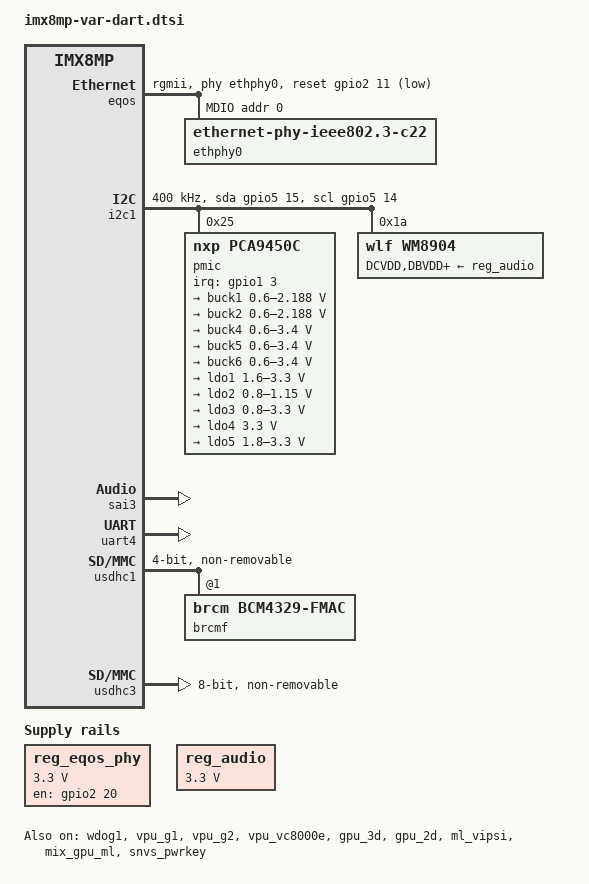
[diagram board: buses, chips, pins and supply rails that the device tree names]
// SPDX-License-Identifier: (GPL-2.0+ OR MIT)
/*
 * Copyright 2019 NXP
 * Copyright 2020-2021 Variscite Ltd.
 */

/dts-v1/;

#include <dt-bindings/usb/pd.h>
#include "imx8mp.dtsi"

/ {
	compatible = "variscite,imx8mp-var-dart", "fsl,imx8mp";

	aliases {
		ethernet0 = &eqos;
		ethernet1 = &fec;
	};

	/delete-node/ memory@40000000;

	reserved-memory {
		/* CMA region is configured by kernel command line as cma=<size>M */
		/delete-node/ linux,cma;
	};

	reg_eqos_phy: regulator-eqos-phy {
		compatible = "regulator-fixed";
		regulator-name = "eqos-phy";
		regulator-min-microvolt = <3300000>;
		regulator-max-microvolt = <3300000>;
		gpio = <&gpio2 20 GPIO_ACTIVE_HIGH>;
		enable-active-high;
		regulator-always-on;
	};

	reg_audio: regulator-audio-vdd {
		compatible = "regulator-fixed";
		regulator-name = "wm8904_supply";
		regulator-min-microvolt = <3300000>;
		regulator-max-microvolt = <3300000>;
		regulator-always-on;
	};

	sound-wm8904 {
		compatible = "simple-audio-card";
		simple-audio-card,bitclock-master = <&dailink_master>;
		simple-audio-card,format = "i2s";
		simple-audio-card,frame-master = <&dailink_master>;
		simple-audio-card,name = "wm8904-audio";
		simple-audio-card,routing =
			"Headphone Jack", "HPOUTL",
			"Headphone Jack", "HPOUTR",
			"IN2L", "Line In Jack",
			"IN2R", "Line In Jack",
			"IN1L", "Microphone Jack",
			"IN1R", "Microphone Jack";
		simple-audio-card,widgets =
			"Microphone", "Microphone Jack",
			"Headphone", "Headphone Jack",
			"Line", "Line In Jack";
		simple-audio-card,mclk-fs = <256>;

		dailink_master: simple-audio-card,codec {
			sound-dai = <&wm8904>;
		};

		simple-audio-card,cpu {
			sound-dai = <&sai3>;
		};
	};
};

&A53_0 {
	cpu-supply = <&buck2>;
};

&A53_1 {
	cpu-supply = <&buck2>;
};

&A53_2 {
	cpu-supply = <&buck2>;
};

&A53_3 {
	cpu-supply = <&buck2>;
};

&eqos {
	pinctrl-names = "default";
	pinctrl-0 = <&pinctrl_eqos>;
	phy-mode = "rgmii";
	phy-handle = <&ethphy0>;
	snps,reset-gpio = <&gpio2 11 GPIO_ACTIVE_LOW>;
	snps,reset-delays-us = <100000 10000 100000>;
	mdio_rst_after_resume;
	status = "okay";

	mdio {
		compatible = "snps,dwmac-mdio";
		#address-cells = <1>;
		#size-cells = <0>;

		ethphy0: ethernet-phy@0 {
			compatible = "ethernet-phy-ieee802.3-c22";
			reg = <0>;
			at803x,eee-disabled;
			at803x,vddio-1p8v;
			eee-broken-1000t;
		};
	};
};

&i2c1 {
	clock-frequency = <400000>;
	pinctrl-names = "default", "gpio";
	pinctrl-0 = <&pinctrl_i2c1>;
	pinctrl-1 = <&pinctrl_i2c1_gpio>;
	scl-gpios = <&gpio5 14 GPIO_ACTIVE_HIGH>;
	sda-gpios = <&gpio5 15 GPIO_ACTIVE_HIGH>;
	status = "okay";

	pmic: pca9450@25 {
		reg = <0x25>;
		compatible = "nxp,pca9450c";
		pinctrl-names = "default";
		pinctrl-0 = <&pinctrl_pmic>;
		interrupt-parent = <&gpio1>;
		interrupts = <3 GPIO_ACTIVE_LOW>;
		status = "okay";

		regulators {
			#address-cells = <1>;
			#size-cells = <0>;

			buck1: BUCK1 {
				regulator-name = "BUCK1";
				regulator-min-microvolt = <600000>;
				regulator-max-microvolt = <2187500>;
				regulator-boot-on;
				regulator-always-on;
				regulator-ramp-delay = <3125>;
			};

			buck2: BUCK2 {
				regulator-name = "BUCK2";
				regulator-min-microvolt = <600000>;
				regulator-max-microvolt = <2187500>;
				regulator-boot-on;
				regulator-always-on;
				regulator-ramp-delay = <3125>;
				nxp,dvs-run-voltage = <950000>;
				nxp,dvs-standby-voltage = <850000>;
			};

			buck4: BUCK4 {
				regulator-name = "BUCK4";
				regulator-min-microvolt = <600000>;
				regulator-max-microvolt = <3400000>;
				regulator-boot-on;
				regulator-always-on;
			};

			buck5: BUCK5 {
				regulator-name = "BUCK5";
				regulator-min-microvolt = <600000>;
				regulator-max-microvolt = <3400000>;
				regulator-boot-on;
				regulator-always-on;
			};

			buck6: BUCK6 {
				regulator-name = "BUCK6";
				regulator-min-microvolt = <600000>;
				regulator-max-microvolt = <3400000>;
				regulator-boot-on;
				regulator-always-on;
			};

			ldo1: LDO1 {
				regulator-name = "LDO1";
				regulator-min-microvolt = <1600000>;
				regulator-max-microvolt = <3300000>;
				regulator-boot-on;
				regulator-always-on;
			};

			ldo2: LDO2 {
				regulator-name = "LDO2";
				regulator-min-microvolt = <800000>;
				regulator-max-microvolt = <1150000>;
				regulator-boot-on;
				regulator-always-on;
			};

			ldo3: LDO3 {
				regulator-name = "LDO3";
				regulator-min-microvolt = <800000>;
				regulator-max-microvolt = <3300000>;
				regulator-boot-on;
				regulator-always-on;
			};

			ldo4: LDO4 {
				regulator-name = "LDO4";
				regulator-min-microvolt = <3300000>;
				regulator-max-microvolt = <3300000>;
				regulator-always-on;
			};

			ldo5: LDO5 {
				regulator-name = "LDO5";
				regulator-min-microvolt = <1800000>;
				regulator-max-microvolt = <3300000>;
			};
		};
	};

	wm8904: codec@1a {
		compatible = "wlf,wm8904";
		#sound-dai-cells = <0>;
		reg = <0x1a>;
		clocks = <&audio_blk_ctrl IMX8MP_CLK_AUDIO_BLK_CTRL_SAI3_MCLK1>;
		clock-names = "mclk";
		DCVDD-supply = <&reg_audio>;
		DBVDD-supply = <&reg_audio>;
		AVDD-supply = <&reg_audio>;
		CPVDD-supply = <&reg_audio>;
		MICVDD-supply = <&reg_audio>;
		num-drc-cfgs = <5>;
		drc-cfg-names = "default", "peaklimiter", "tradition", "soft", "music";
		drc-cfg-regs =
				/* coded default: KNEE_IP = KNEE_OP = 0, HI_COMP = LO_COMP = 1  */
				<0x01af 0x3248 0x0000 0x0000>,
				/* coded default: KNEE_IP = -24, KNEE_OP = -6, HI_COMP = 1/4, LO_COMP = 1 */
				<0x04af 0x324b 0x0010 0x0408>,
				/* coded default: KNEE_IP = -42, KNEE_OP = -3, HI_COMP = 0, LO_COMP = 1 */
				<0x04af 0x324b 0x0028 0x0704>,
				/* coded default: KNEE_IP = -45, KNEE_OP = -9, HI_COMP = 1/8, LO_COMP = 1 */
				<0x04af 0x324b 0x0018 0x078c>,
				/* coded default: KNEE_IP = -30, KNEE_OP = -10.5, HI_COMP = 1/4, LO_COMP = 1 */
				<0x04af 0x324b 0x0010 0x050e>;
		gpio-cfg = <
			0x0018 /* GPIO1 => DMIC_CLK */
			0xffff /* GPIO2 => don't touch */
			0xffff /* GPIO3 => don't touch */
			0xffff /* GPIO4 => don't touch */
		>;
		status = "okay";
	};
};

&sai3 {
	#sound-dai-cells = <0>;
	pinctrl-names = "default";
	pinctrl-0 = <&pinctrl_sai3>;
	assigned-clocks = <&clk IMX8MP_CLK_SAI3>;
	assigned-clock-parents = <&clk IMX8MP_AUDIO_PLL1_OUT>;
	assigned-clock-rates = <11536000>;
	clocks = <&audio_blk_ctrl IMX8MP_CLK_AUDIO_BLK_CTRL_SAI3_IPG>, <&clk IMX8MP_CLK_DUMMY>,
		 <&audio_blk_ctrl IMX8MP_CLK_AUDIO_BLK_CTRL_SAI3_MCLK1>, <&clk IMX8MP_CLK_DUMMY>,
		 <&clk IMX8MP_CLK_DUMMY>;
	clock-names = "bus", "mclk0", "mclk1", "mclk2", "mclk3";
	fsl,sai-mclk-direction-output;
	status = "okay";
};

&sdma2 {
	status = "okay";
};

/* BT */
&uart4 {
	pinctrl-names = "default";
	pinctrl-0 = <&pinctrl_uart4>, <&pinctrl_bt>;
	assigned-clocks = <&clk IMX8MP_CLK_UART4>;
	assigned-clock-parents = <&clk IMX8MP_SYS_PLL1_80M>;
	uart-has-rtscts;
	status = "okay";
};

/* WIFI */
&usdhc1 {
	#address-cells = <1>;
	#size-cells = <0>;
	pinctrl-names = "default", "state_100mhz", "state_200mhz";
	pinctrl-0 = <&pinctrl_usdhc1>, <&pinctrl_wifi>;
	pinctrl-1 = <&pinctrl_usdhc1_100mhz>, <&pinctrl_wifi>;
	pinctrl-2 = <&pinctrl_usdhc1_200mhz>, <&pinctrl_wifi>;
	bus-width = <4>;
	non-removable;
	keep-power-in-suspend;
	status = "okay";

	brcmf: bcrmf@1 {
		reg = <1>;
		compatible = "brcm,bcm4329-fmac";
		laird,regdomain = "US";
	};
};

/* eMMC */
&usdhc3 {
	pinctrl-names = "default", "state_100mhz", "state_200mhz";
	pinctrl-0 = <&pinctrl_usdhc3>;
	pinctrl-1 = <&pinctrl_usdhc3_100mhz>;
	pinctrl-2 = <&pinctrl_usdhc3_200mhz>;
	bus-width = <8>;
	non-removable;
	status = "okay";
};

&wdog1 {
	pinctrl-names = "default";
	pinctrl-0 = <&pinctrl_wdog>;
	fsl,ext-reset-output;
	status = "okay";
};

&vpu_g1 {
	status = "okay";
};

&vpu_g2 {
	status = "okay";
};

&vpu_vc8000e {
	status = "okay";
};

&gpu_3d {
	status = "okay";
};

&gpu_2d {
	status = "okay";
};

&ml_vipsi {
	status = "okay";
};

&mix_gpu_ml {
	status = "okay";
};

&snvs_rtc {
	status = "disabled";
};

&caam_snvs {
	status = "disabled";
};

&snvs_pwrkey {
	status = "okay";
};

&iomuxc {
	pinctrl_eqos: eqosgrp {
		fsl,pins = <
			MX8MP_IOMUXC_ENET_MDC__ENET_QOS_MDC				0x2
			MX8MP_IOMUXC_ENET_MDIO__ENET_QOS_MDIO				0x2
			MX8MP_IOMUXC_ENET_RD0__ENET_QOS_RGMII_RD0			0x90
			MX8MP_IOMUXC_ENET_RD1__ENET_QOS_RGMII_RD1			0x90
			MX8MP_IOMUXC_ENET_RD2__ENET_QOS_RGMII_RD2			0x90
			MX8MP_IOMUXC_ENET_RD3__ENET_QOS_RGMII_RD3			0x90
			MX8MP_IOMUXC_ENET_RXC__CCM_ENET_QOS_CLOCK_GENERATE_RX_CLK	0x90
			MX8MP_IOMUXC_ENET_RX_CTL__ENET_QOS_RGMII_RX_CTL			0x90
			MX8MP_IOMUXC_ENET_TD0__ENET_QOS_RGMII_TD0			0x16
			MX8MP_IOMUXC_ENET_TD1__ENET_QOS_RGMII_TD1			0x16
			MX8MP_IOMUXC_ENET_TD2__ENET_QOS_RGMII_TD2			0x16
			MX8MP_IOMUXC_ENET_TD3__ENET_QOS_RGMII_TD3			0x16
			MX8MP_IOMUXC_ENET_TX_CTL__ENET_QOS_RGMII_TX_CTL			0x16
			MX8MP_IOMUXC_ENET_TXC__CCM_ENET_QOS_CLOCK_GENERATE_TX_CLK	0x16
			MX8MP_IOMUXC_SD2_WP__GPIO2_IO20					0x10
			MX8MP_IOMUXC_SD1_STROBE__GPIO2_IO11				0x10
		>;
	};

	pinctrl_i2c1: i2c1grp {
		fsl,pins = <
			MX8MP_IOMUXC_I2C1_SCL__I2C1_SCL					0x400001c2
			MX8MP_IOMUXC_I2C1_SDA__I2C1_SDA					0x400001c2
		>;
	};

	pinctrl_i2c1_gpio: i2c1gpiogrp {
		fsl,pins = <
			MX8MP_IOMUXC_I2C1_SCL__GPIO5_IO14				0x1c2
			MX8MP_IOMUXC_I2C1_SDA__GPIO5_IO15				0x1c2
		>;
	};

	pinctrl_pmic: pmicgrp {
		fsl,pins = <
			MX8MP_IOMUXC_GPIO1_IO03__GPIO1_IO03				0x1c0
		>;
	};

	pinctrl_sai3: sai3grp {
		fsl,pins = <
			MX8MP_IOMUXC_SAI3_TXFS__AUDIOMIX_SAI3_TX_SYNC			0xd6
			MX8MP_IOMUXC_SAI3_TXC__AUDIOMIX_SAI3_TX_BCLK			0xd6
			MX8MP_IOMUXC_SAI3_RXD__AUDIOMIX_SAI3_RX_DATA00			0xd6
			MX8MP_IOMUXC_SAI3_TXD__AUDIOMIX_SAI3_TX_DATA00			0xd6
			MX8MP_IOMUXC_SAI3_MCLK__AUDIOMIX_SAI3_MCLK			0xd6
			MX8MP_IOMUXC_SAI3_RXFS__AUDIOMIX_SAI3_RX_SYNC			0xd6
			MX8MP_IOMUXC_SAI3_RXC__AUDIOMIX_SAI3_RX_BCLK			0xd6
		>;
	};

	pinctrl_usdhc1: usdhc1grp {
		fsl,pins = <
			MX8MP_IOMUXC_SD1_CLK__USDHC1_CLK				0x190
			MX8MP_IOMUXC_SD1_CMD__USDHC1_CMD				0x1d0
			MX8MP_IOMUXC_SD1_DATA0__USDHC1_DATA0				0x1d0
			MX8MP_IOMUXC_SD1_DATA1__USDHC1_DATA1				0x1d0
			MX8MP_IOMUXC_SD1_DATA2__USDHC1_DATA2				0x1d0
			MX8MP_IOMUXC_SD1_DATA3__USDHC1_DATA3				0x1d0
		>;
	};

	pinctrl_usdhc1_100mhz: usdhc1grp-100mhz {
		fsl,pins = <
			MX8MP_IOMUXC_SD1_CLK__USDHC1_CLK				0x194
			MX8MP_IOMUXC_SD1_CMD__USDHC1_CMD				0x1d4
			MX8MP_IOMUXC_SD1_DATA0__USDHC1_DATA0				0x1d4
			MX8MP_IOMUXC_SD1_DATA1__USDHC1_DATA1				0x1d4
			MX8MP_IOMUXC_SD1_DATA2__USDHC1_DATA2				0x1d4
			MX8MP_IOMUXC_SD1_DATA3__USDHC1_DATA3				0x1d4
		>;
	};

	pinctrl_usdhc1_200mhz: usdhc1grp-200mhz {
		fsl,pins = <
			MX8MP_IOMUXC_SD1_CLK__USDHC1_CLK				0x196
			MX8MP_IOMUXC_SD1_CMD__USDHC1_CMD				0x1d6
			MX8MP_IOMUXC_SD1_DATA0__USDHC1_DATA0				0x1d6
			MX8MP_IOMUXC_SD1_DATA1__USDHC1_DATA1				0x1d6
			MX8MP_IOMUXC_SD1_DATA2__USDHC1_DATA2				0x1d6
			MX8MP_IOMUXC_SD1_DATA3__USDHC1_DATA3				0x1d6
		>;
	};

	pinctrl_usdhc3: usdhc3grp {
		fsl,pins = <
			MX8MP_IOMUXC_NAND_WE_B__USDHC3_CLK				0x190
			MX8MP_IOMUXC_NAND_WP_B__USDHC3_CMD				0x1d0
			MX8MP_IOMUXC_NAND_DATA04__USDHC3_DATA0				0x1d0
			MX8MP_IOMUXC_NAND_DATA05__USDHC3_DATA1				0x1d0
			MX8MP_IOMUXC_NAND_DATA06__USDHC3_DATA2				0x1d0
			MX8MP_IOMUXC_NAND_DATA07__USDHC3_DATA3				0x1d0
			MX8MP_IOMUXC_NAND_RE_B__USDHC3_DATA4				0x1d0
			MX8MP_IOMUXC_NAND_CE2_B__USDHC3_DATA5				0x1d0
			MX8MP_IOMUXC_NAND_CE3_B__USDHC3_DATA6				0x1d0
			MX8MP_IOMUXC_NAND_CLE__USDHC3_DATA7				0x1d0
			MX8MP_IOMUXC_NAND_CE1_B__USDHC3_STROBE				0x190
		>;
	};

	pinctrl_usdhc3_100mhz: usdhc3grp-100mhz {
		fsl,pins = <
			MX8MP_IOMUXC_NAND_WE_B__USDHC3_CLK				0x194
			MX8MP_IOMUXC_NAND_WP_B__USDHC3_CMD				0x1d4
			MX8MP_IOMUXC_NAND_DATA04__USDHC3_DATA0				0x1d4
			MX8MP_IOMUXC_NAND_DATA05__USDHC3_DATA1				0x1d4
			MX8MP_IOMUXC_NAND_DATA06__USDHC3_DATA2				0x1d4
			MX8MP_IOMUXC_NAND_DATA07__USDHC3_DATA3				0x1d4
			MX8MP_IOMUXC_NAND_RE_B__USDHC3_DATA4				0x1d4
			MX8MP_IOMUXC_NAND_CE2_B__USDHC3_DATA5				0x1d4
			MX8MP_IOMUXC_NAND_CE3_B__USDHC3_DATA6				0x1d4
			MX8MP_IOMUXC_NAND_CLE__USDHC3_DATA7				0x1d4
			MX8MP_IOMUXC_NAND_CE1_B__USDHC3_STROBE				0x194
		>;
	};

	pinctrl_usdhc3_200mhz: usdhc3grp-200mhz {
		fsl,pins = <
			MX8MP_IOMUXC_NAND_WE_B__USDHC3_CLK				0x196
			MX8MP_IOMUXC_NAND_WP_B__USDHC3_CMD				0x1d6
			MX8MP_IOMUXC_NAND_DATA04__USDHC3_DATA0				0x1d6
			MX8MP_IOMUXC_NAND_DATA05__USDHC3_DATA1				0x1d6
			MX8MP_IOMUXC_NAND_DATA06__USDHC3_DATA2				0x1d6
			MX8MP_IOMUXC_NAND_DATA07__USDHC3_DATA3				0x1d6
			MX8MP_IOMUXC_NAND_RE_B__USDHC3_DATA4				0x1d6
			MX8MP_IOMUXC_NAND_CE2_B__USDHC3_DATA5				0x1d6
			MX8MP_IOMUXC_NAND_CE3_B__USDHC3_DATA6				0x1d6
			MX8MP_IOMUXC_NAND_CLE__USDHC3_DATA7				0x1d6
			MX8MP_IOMUXC_NAND_CE1_B__USDHC3_STROBE				0x196
		>;
	};

	pinctrl_wdog: wdoggrp {
		fsl,pins = <
			MX8MP_IOMUXC_GPIO1_IO02__WDOG1_WDOG_B				0xc6
		>;
	};

	pinctrl_wifi: wifigrp {
		fsl,pins = <
			MX8MP_IOMUXC_SD1_DATA5__GPIO2_IO07				0xc0 /* WIFI_EN  */
			MX8MP_IOMUXC_SD1_DATA6__GPIO2_IO08				0xc0 /* WIFI_PWR */
		>;
	};

	pinctrl_bt: btgrp {
		fsl,pins = <
			MX8MP_IOMUXC_SD1_DATA4__GPIO2_IO06				0xc0 /* BT_EN  */
			MX8MP_IOMUXC_SD1_DATA7__GPIO2_IO09				0xc0 /* BT_BUF */
		>;
	};
};
